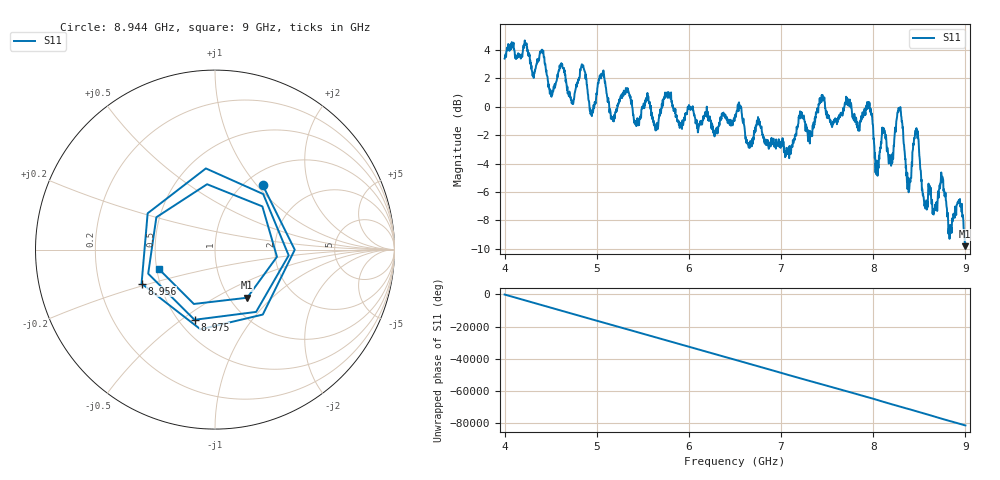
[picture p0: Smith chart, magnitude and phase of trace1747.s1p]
! Created with skrf 1.8.0 (http://scikit-rf.org).
# Hz S RI R 50.0
!freq ReS11 ImS11
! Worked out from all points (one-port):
!   1601 points, 4 GHz to 9 GHz, reference 50 ohm
!   lowest |S11| = -9.8 dB at 8.994 GHz (marker M1), VSWR 1.95, Z = 60.1 - j36 ohm
!   |S11| at or under -10 dB: nowhere
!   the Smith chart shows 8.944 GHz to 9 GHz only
!   S11 on the Smith chart (normalised r, x): 8.944 GHz: 1.20, +1.07; 8.956 GHz: 0.39, -0.19; 8.975 GHz: 0.60, -0.56; 9 GHz: 0.51, -0.13
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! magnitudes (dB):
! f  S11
! 4 GHz  3.4
! 4.406 GHz  4.0
! 4.506 GHz  0.8
! 4.625 GHz  3.0
! 4.734 GHz  0.2
! 4.85 GHz  2.8
! 4.947 GHz  -0.7
! 5.053 GHz  2.3
! 5.162 GHz  -0.8
! 5.25 GHz  0.5
! 5.875 GHz  -0.9
! 6.5 GHz  -0.6
! 7.125 GHz  -2.8
! 7.444 GHz  0.5
! 7.75 GHz  0.2
! 7.959 GHz  0.3
! 8.041 GHz  -4.6
! 8.116 GHz  -1.7
! 8.194 GHz  -4.2
! 8.288 GHz  -0.1
! 8.375 GHz  -5.1
! 8.466 GHz  -1.6
! 8.566 GHz  -7.2
! 8.944 GHz  -7.0
! 8.956 GHz  -6.9
! 8.975 GHz  -7.8
! 8.994 GHz  -9.8
! 9 GHz  -9.6
